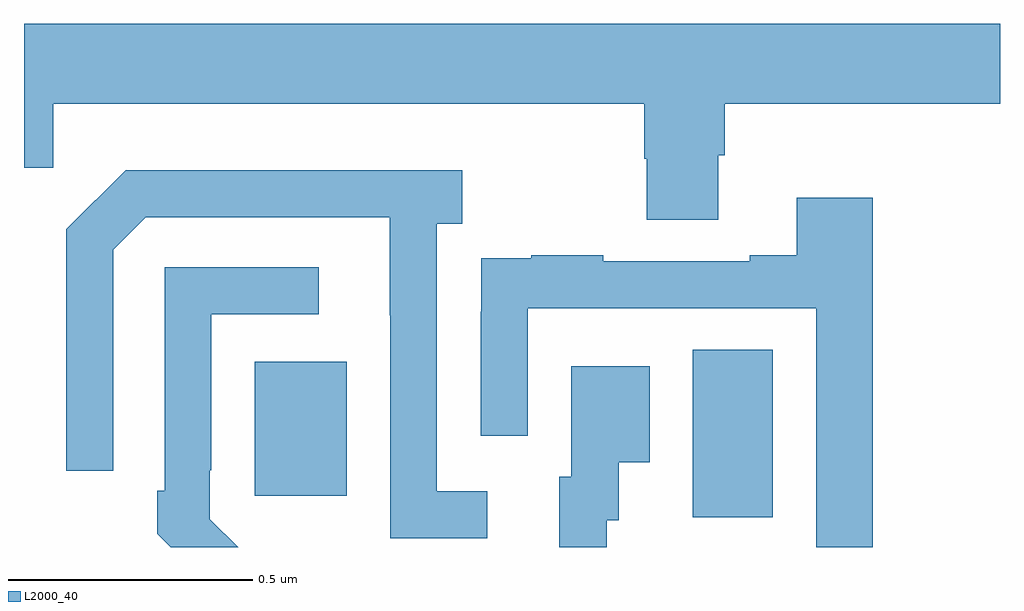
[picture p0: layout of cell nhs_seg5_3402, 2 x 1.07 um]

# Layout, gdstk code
import gdstk
lib = gdstk.Library(unit=1e-6, precision=1e-09)
def R(c, l, rs):  # rectangles x0, y0, x1, y1
    for r in rs: c.add(gdstk.rectangle(r[:2], r[2:], *l))
def P(c, l, *ps):  # polygons
    for p in ps: c.add(gdstk.Polygon(p, *l))
L2000_40 = (2000, 40)

nhs_seg5_3402 = lib.new_cell('nhs_seg5_3402')
R(nhs_seg5_3402, L2000_40, [(157.37,907.861,157.534,908.204), (156.473,907.905,156.661,908.179)])
P(nhs_seg5_3402, L2000_40, [(157.423,908.602),(157.436,908.602),(157.436,908.708),(158,908.708),(158,908.872),(156,908.872),(156,908.577),(156.06,908.577),(156.06,908.708),(157.271,908.708),(157.271,908.595),(157.276,908.595),(157.276,908.47),(157.423,908.47)],
  [(156.949,907.914),(156.846,907.914),(156.846,908.462),(156.898,908.462),(156.898,908.572),(156.208,908.572),(156.087,908.451),(156.087,907.956),(156.183,907.956),(156.183,908.409),(156.249,908.475),(156.749,908.475),(156.749,908.275),(156.75,908.275),(156.75,907.818),(156.949,907.818)],
  [(157.739,908.515),(157.583,908.515),(157.583,908.398),(157.487,908.398),(157.487,908.385),(157.187,908.385),(157.187,908.398),(157.039,908.398),(157.039,908.391),(156.937,908.391),(156.937,908.282),(156.936,908.282),(156.936,908.028),(157.032,908.028),(157.032,908.289),(157.623,908.289),(157.623,907.799),(157.739,907.799)],
  [(156.381,907.857),(156.381,907.957),(156.384,907.957),(156.384,908.277),(156.604,908.277),(156.604,908.373),(156.288,908.373),(156.288,907.915),(156.273,907.915),(156.273,907.827),(156.301,907.799),(156.439,907.799)],
  [(157.194,907.854),(157.219,907.854),(157.219,907.973),(157.282,907.973),(157.282,908.17),(157.121,908.17),(157.121,907.944),(157.097,907.944),(157.097,907.799),(157.194,907.799)])

lib.write_gds('nhs_seg5_3402.gds')
